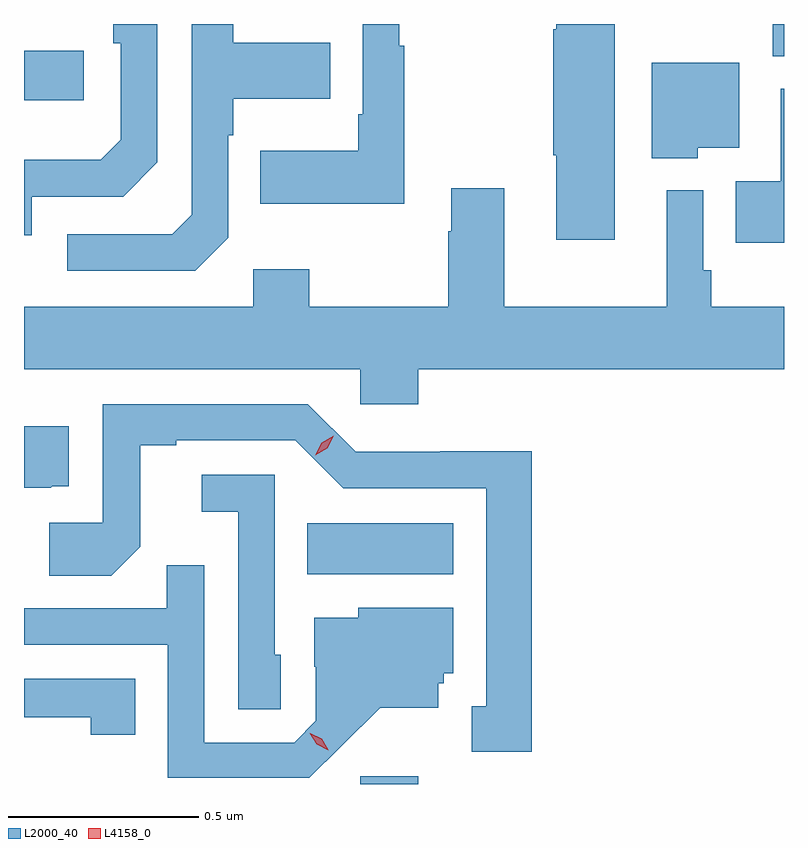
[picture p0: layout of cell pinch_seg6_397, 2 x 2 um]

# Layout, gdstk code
import gdstk
lib = gdstk.Library(unit=1e-6, precision=1e-09)
def R(c, l, rs):  # rectangles x0, y0, x1, y1
    for r in rs: c.add(gdstk.rectangle(r[:2], r[2:], *l))
def P(c, l, *ps):  # polygons
    for p in ps: c.add(gdstk.Polygon(p, *l))
L2000_40 = (2000, 40)
L4158_0 = (4158, 0)

pinch_seg6_397 = lib.new_cell('pinch_seg6_397')
R(pinch_seg6_397, L2000_40, [(640.116,927.596,640.268,927.616), (639.976,928.148,640.36,928.282), (639.231,929.396,639.388,929.526), (641.201,929.511,641.231,929.596)])
P(pinch_seg6_397, L2000_40, [(639.252,929.142),(639.492,929.142),(639.582,929.232),(639.582,929.596),(639.466,929.596),(639.466,929.546),(639.486,929.546),(639.486,929.292),(639.433,929.239),(639.231,929.239),(639.231,929.04),(639.252,929.04)],
  [(640.231,929.539),(640.219,929.539),(640.219,929.596),(640.122,929.596),(640.122,929.359),(640.11,929.359),(640.11,929.263),(639.853,929.263),(639.853,929.123),(640.231,929.123)],
  [(640.786,929.596),(640.631,929.596),(640.631,929.582),(640.624,929.582),(640.624,929.251),(640.631,929.251),(640.631,929.028),(640.786,929.028)],
  [(639.768,929.034),(639.768,929.303),(639.781,929.303),(639.781,929.399),(640.037,929.399),(640.037,929.547),(639.781,929.547),(639.781,929.596),(639.672,929.596),(639.672,929.094),(639.621,929.043),(639.345,929.043),(639.345,928.947),(639.681,928.947)],
  [(641.004,929.27),(641.113,929.27),(641.113,929.494),(640.883,929.494),(640.883,929.243),(641.004,929.243)],
  [(641.231,929.426),(641.222,929.426),(641.222,929.182),(641.104,929.182),(641.104,929.021),(641.231,929.021)],
  [(640.268,928.688),(641.231,928.688),(641.231,928.852),(641.039,928.852),(641.039,928.948),(641.019,928.948),(641.019,929.158),(640.922,929.158),(640.922,928.852),(640.495,928.852),(640.495,929.164),(640.355,929.164),(640.355,929.051),(640.348,929.051),(640.348,928.852),(639.981,928.852),(639.981,928.951),(639.834,928.951),(639.834,928.852),(639.231,928.852),(639.231,928.688),(640.116,928.688),(640.116,928.595),(640.268,928.595)],
  [(640.567,928.472),(640.326,928.472),(640.326,928.47),(640.104,928.47),(639.978,928.596),(639.438,928.596),(639.438,928.284),(639.297,928.284),(639.297,928.144),(639.461,928.144),(639.537,928.22),(639.537,928.488),(639.631,928.488),(639.631,928.5),(639.945,928.5),(640.071,928.374),(640.448,928.374),(640.448,927.801),(640.409,927.801),(640.409,927.681),(640.567,927.681)],
  [(639.305,928.379),(639.349,928.379),(639.349,928.537),(639.231,928.537),(639.231,928.376),(639.302,928.376)],
  [(639.906,927.936),(639.891,927.936),(639.891,928.41),(639.699,928.41),(639.699,928.313),(639.795,928.313),(639.795,927.793),(639.906,927.793)],
  [(640.066,927.695),(640.169,927.797),(640.321,927.797),(640.321,927.861),(640.335,927.861),(640.335,927.888),(640.36,927.888),(640.36,928.06),(640.11,928.06),(640.11,928.033),(639.995,928.033),(639.995,927.904),(639.999,927.904),(639.999,927.762),(639.942,927.705),(639.705,927.705),(639.705,928.172),(639.607,928.172),(639.607,928.059),(639.231,928.059),(639.231,927.963),(639.609,927.963),(639.609,927.612),(639.982,927.612)],
  [(639.524,927.873),(639.231,927.873),(639.231,927.772),(639.406,927.772),(639.406,927.726),(639.524,927.726)])
P(pinch_seg6_397, L4158_0, [(639.997,928.461),(639.997,928.461),(640.014,928.494),(640.046,928.513),(640.046,928.513),(640.046,928.513),(640.029,928.48),(639.998,928.461)],
  [(640.031,927.685),(640.001,927.7),(639.983,927.729),(639.983,927.729),(639.984,927.729),(640.014,927.715),(640.032,927.686),(640.032,927.685)])

lib.write_gds('pinch_seg6_397.gds')
